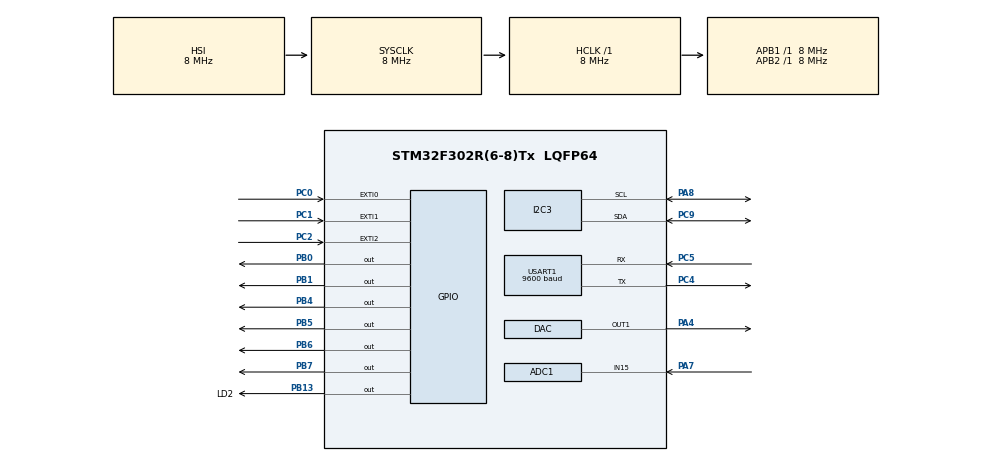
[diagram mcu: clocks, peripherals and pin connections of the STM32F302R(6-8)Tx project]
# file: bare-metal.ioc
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ADC1.Channel-0\#ChannelRegularConversion=ADC_CHANNEL_15
ADC1.Channel-1\#ChannelRegularConversion=ADC_CHANNEL_15
ADC1.Channel-2\#ChannelRegularConversion=ADC_CHANNEL_15
ADC1.ClockPrescaler=ADC_CLOCK_SYNC_PCLK_DIV4
ADC1.ContinuousConvMode=ENABLE
ADC1.EOCSelection=ADC_EOC_SEQ_CONV
ADC1.NbrOfConversion=3
ADC1.NbrOfConversionFlag=1
ADC1.Offset-0\#ChannelRegularConversion=0
ADC1.Offset-1\#ChannelRegularConversion=0
ADC1.Offset-2\#ChannelRegularConversion=0
ADC1.OffsetNumber-0\#ChannelRegularConversion=ADC_OFFSET_NONE
ADC1.OffsetNumber-1\#ChannelRegularConversion=ADC_OFFSET_NONE
ADC1.OffsetNumber-2\#ChannelRegularConversion=ADC_OFFSET_NONE
ADC1.Rank-0\#ChannelRegularConversion=1
ADC1.Rank-1\#ChannelRegularConversion=2
ADC1.Rank-2\#ChannelRegularConversion=3
ADC1.SamplingTime-0\#ChannelRegularConversion=ADC_SAMPLETIME_1CYCLE_5
ADC1.SamplingTime-1\#ChannelRegularConversion=ADC_SAMPLETIME_1CYCLE_5
ADC1.SamplingTime-2\#ChannelRegularConversion=ADC_SAMPLETIME_1CYCLE_5
ADC1.SamplingTimeOPAMP-0\#ChannelRegularConversion=ADC_SAMPLETIME_4CYCLES_5
ADC1.SamplingTimeOPAMP-1\#ChannelRegularConversion=ADC_SAMPLETIME_1CYCLE_5
ADC1.SamplingTimeOPAMP-2\#ChannelRegularConversion=ADC_SAMPLETIME_1CYCLE_5
ADC1.SubFamily=STM32F302x8
ADC1.master=1
DAC.DAC_Trigger=DAC_TRIGGER_T6_TRGO
Dma.DAC_CH1.0.Direction=DMA_MEMORY_TO_PERIPH
Dma.DAC_CH1.0.Instance=DMA1_Channel3
Dma.DAC_CH1.0.MemDataAlignment=DMA_MDATAALIGN_WORD
Dma.DAC_CH1.0.MemInc=DMA_MINC_ENABLE
Dma.DAC_CH1.0.Mode=DMA_CIRCULAR
Dma.DAC_CH1.0.PeriphDataAlignment=DMA_PDATAALIGN_WORD
Dma.DAC_CH1.0.PeriphInc=DMA_PINC_DISABLE
Dma.DAC_CH1.0.Priority=DMA_PRIORITY_HIGH
Dma.Request0=DAC_CH1
I2C3.NoStretchMode=I2C_NOSTRETCH_DISABLE
I2C3.Speed=32
I2C3.Timing=0x00101DD6
Mcu.Family=STM32F3
Mcu.Name=STM32F302R(6-8)Tx
Mcu.Package=LQFP64
NVIC.DMA1_Channel3_IRQn=true\:0\:0\:false\:false\:true\:false\:true\:true
NVIC.EXTI0_IRQn=true\:0\:0\:false\:false\:true\:true\:true\:true
NVIC.EXTI1_IRQn=true\:0\:0\:false\:false\:true\:true\:true\:true
NVIC.EXTI2_TSC_IRQn=true\:0\:0\:false\:false\:true\:true\:true\:true
NVIC.PriorityGroup=NVIC_PRIORITYGROUP_4
NVIC.TIM2_IRQn=true\:0\:0\:false\:false\:true\:true\:true\:true
NVIC.USART1_IRQn=true\:0\:0\:false\:false\:true\:true\:true\:true
PA13.Mode=Serial_Wire
PA13.Signal=SYS_JTMS-SWDIO
PA14.Mode=Serial_Wire
PA14.Signal=SYS_JTCK-SWCLK
PA4.Signal=COMP_DAC1_group
PA7.Mode=IN15-Single-Ended
PA7.Signal=ADC1_IN15
PA8.GPIO_Pu=GPIO_PULLUP
PA8.Mode=I2C
PA8.Signal=I2C3_SCL
PB0.GPIO_Speed=GPIO_SPEED_FREQ_HIGH
PB0.Signal=GPIO_Output
PB1.GPIO_Speed=GPIO_SPEED_FREQ_HIGH
PB1.Signal=GPIO_Output
PB13.GPIO_Label=LD2
PB13.GPIO_Speed=GPIO_SPEED_FREQ_HIGH
PB13.Signal=GPIO_Output
PB4.GPIO_Speed=GPIO_SPEED_FREQ_HIGH
PB4.Signal=GPIO_Output
PB5.GPIO_Speed=GPIO_SPEED_FREQ_HIGH
PB5.Signal=GPIO_Output
PB6.GPIO_FM6=SYSCFG_CFGR1_I2C_PB6_FMP
PB6.GPIO_Speed=GPIO_SPEED_FREQ_HIGH
PB6.Signal=GPIO_Output
PB7.GPIO_FM7=SYSCFG_CFGR1_I2C_PB7_FMP
PB7.GPIO_Speed=GPIO_SPEED_FREQ_HIGH
PB7.Signal=GPIO_Output
PC0.GPIO_ModeDefaultEXTI=GPIO_MODE_IT_RISING_FALLING
PC0.GPIO_PuPd=GPIO_PULLUP
PC0.Signal=GPXTI0
PC1.GPIO_ModeDefaultEXTI=GPIO_MODE_IT_RISING_FALLING
PC1.GPIO_PuPd=GPIO_PULLUP
PC1.Signal=GPXTI1
PC2.GPIO_ModeDefaultEXTI=GPIO_MODE_IT_RISING_FALLING
PC2.GPIO_PuPd=GPIO_PULLUP
PC2.Signal=GPXTI2
PC4.Mode=Asynchronous
PC4.Signal=USART1_TX
PC5.Mode=Asynchronous
PC5.Signal=USART1_RX
PC9.GPIO_Pu=GPIO_PULLUP
PC9.Mode=I2C
PC9.Signal=I2C3_SDA
ProjectManager.HeapSize=0x200
ProjectManager.StackSize=0x400
ProjectManager.TargetToolchain=STM32CubeIDE
RCC.AHBFreq_Value=8000000
RCC.APB1Freq_Value=8000000
RCC.APB2Freq_Value=8000000
RCC.CortexFreq_Value=8000000
RCC.HSE_VALUE=8000000
RCC.HSI_VALUE=8000000
RCC.LSE_VALUE=32768
RCC.SYSCLKFreq_VALUE=8000000
SH.COMP_DAC1_group.0=DAC_OUT1,DAC_OUT1
TIM2.AutoReloadPreload=TIM_AUTORELOAD_PRELOAD_ENABLE
TIM2.ClockDivision=TIM_CLOCKDIVISION_DIV4
TIM2.Period=32000
TIM2.Prescaler=1024
TIM6.AutoReloadPreload=TIM_AUTORELOAD_PRELOAD_DISABLE
TIM6.Period=624
TIM6.TIM_MasterOutputTrigger=TIM_TRGO_UPDATE
USART1.BaudRate=9600
USART1.VirtualMode-Asynchronous=VM_ASYNC
VP_TIM15_VS_ClockSourceINT.Mode=Internal
VP_TIM2_VS_ClockSourceINT.Mode=Internal
VP_TIM6_VS_ClockSourceINT.Mode=Enable_Timer
board=custom

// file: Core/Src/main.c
/* USER CODE BEGIN Header */
/**
 ******************************************************************************
 * @file           : main.c
 * @brief          : Main program body
 ******************************************************************************
 * @attention
 *
 * Copyright (c) 2023 STMicroelectronics.
 * All rights reserved.
 *
 * This software is licensed under terms that can be found in the LICENSE file
 * in the root directory of this software component.
 * If no LICENSE file comes with this software, it is provided AS-IS.
 *
 ******************************************************************************
 * The above is auto-generated by the STM32CubeIDE.
 *
 * The code in the bare-metal STM32 project is highly experimental and focuses
 * on how to use the MCU's resources for various kind of applications.
 *
 * For now, the UART, I2C, ADC, DAC, DMA and a set of GPIOs have been utilized.
 * (as of 21Feb24)
 *
 * - UART1 for command line interface for debugging and ...
 * - I2C for reading measurements from a CO2 sensor.
 * - ADC for measuring an AA battery voltage.
 * - DAC for generating a sinusoidal voltage on peripheral.
 * - DMA for updating the DAC directly from memory.
 * - GPIO B0, B1 + B4 - B7 for LCD 4-bit data bus control.
 * - TIM2, TIM6, TIM15, for PWM, DAC-DMA-Request and microsecond delay for data
 *   bus control
 *
 */
/* USER CODE END Header */
#include "main.h"

/* USER CODE BEGIN Includes */
#include <stdio.h>
#include <string.h>
#include "appver.h"
#include "cmd.h"
#include "scd30.h"
#include "lcd16x2.h"
#include "eightBitSinus.h"

/* USER CODE END Includes */

/* USER CODE BEGIN PD */
#define SENSIRION_ADDRESS 0x61 << 1
#define firmware 0xD100
#define continuous_measurement 0x0010
/* USER CODE END PD */

ADC_HandleTypeDef hadc1;

DAC_HandleTypeDef hdac;
DMA_HandleTypeDef hdma_dac_ch1;

I2C_HandleTypeDef hi2c3;

TIM_HandleTypeDef htim2;
TIM_HandleTypeDef htim6;
TIM_HandleTypeDef htim15;

UART_HandleTypeDef huart1;

void SystemClock_Config(void);
static void MX_GPIO_Init(void);
static void MX_DMA_Init(void);
static void MX_USART1_UART_Init(void);
static void MX_ADC1_Init(void);
static void MX_TIM2_Init(void);
static void MX_I2C3_Init(void);
static void MX_DAC_Init(void);
static void MX_TIM6_Init(void);
static void MX_TIM15_Init(void);
/* USER CODE BEGIN PFP */

int _write(int fd, char *ptr, int len) {
	//HAL_UART_Transmit(&huart1, (uint8_t *) ptr, len, HAL_MAX_DELAY);
	HAL_UART_Transmit(&huart1, (uint8_t*) ptr, len, 1000);
	return len;
}

/* USER CODE END PFP */

/* USER CODE BEGIN 0 */
void XferCpltCallback(DMA_HandleTypeDef *hdma);
extern int msValue;
extern int timRepeat;
extern int timRepeatCount;

extern char co2[20];
extern char temp[20];

uint8_t txBuffer[14] =
		{ 48, 49, 50, 51, 52, 53, 54, 55, 56, 57, 10, 13, 10, 13 };
uint8_t counter = 0;
uint8_t UART1_rxBuffer = 0;
uint8_t cmdComplete;
char termInputBuffer[80];
int bytesReceived = 0;
uint8_t led2 = OFF;
uint8_t timMode = ONE_SHOT;
uint8_t relHours = 0;
uint8_t relMinutes = 0;
uint8_t relSeconds = 0;
uint8_t relHundreds = 0;

void HAL_UART_RxCpltCallback(UART_HandleTypeDef *huart) {
	//uint8_t UARTnewLine = 10;
	if (UART1_rxBuffer == 13) {
		//HAL_UART_Transmit(&huart1, &UARTnewLine, 1, 100);
		if (bytesReceived > 0) {
			HAL_GPIO_WritePin(LD2_GPIO_Port, LD2_Pin, GPIO_PIN_SET);

			executeCmd(&termInputBuffer[0], bytesReceived);
			bytesReceived = 0;
			memset(termInputBuffer, 0, 80);
			HAL_GPIO_WritePin(LD2_GPIO_Port, LD2_Pin, GPIO_PIN_RESET);
		} else {
			promt();
		}
		HAL_UART_Receive_IT(&huart1, &UART1_rxBuffer, 1);
		return;
	}
	HAL_UART_Transmit(&huart1, &UART1_rxBuffer, 1, 100);
	termInputBuffer[bytesReceived] = UART1_rxBuffer;
	bytesReceived++;
	// re-trigger the interrupt...
	HAL_UART_Receive_IT(&huart1, &UART1_rxBuffer, 1);
}

void HAL_TIM_PeriodElapsedCallback(TIM_HandleTypeDef *htim) {
   if (timMode == ONE_SHOT) {
      HAL_GPIO_TogglePin(LD2_GPIO_Port, LD2_Pin);
      HAL_TIM_Base_Stop_IT(&htim2);
   }
   else {
      HAL_GPIO_TogglePin(LD2_GPIO_Port, LD2_Pin);
      if (timRepeatCount++ > timRepeat) {
         HAL_TIM_Base_Stop_IT(&htim2);
      }
   }
   //printf("\r\nHAL_TIM_PeriodElapsedCallback");
   //promt();
}
//HAL_GPIO_EXTI_IRQHandler
void HAL_GPIO_EXTI_Callback(uint16_t GPIO_Pin) {
   uint16_t hallState = GPIOC->IDR & 0x7;
   printf("hall state = 0x%02x", hallState);
}

void delay_us(volatile uint16_t au16_us)
{
   htim15.Instance->CNT = 0;
   while (htim15.Instance->CNT < au16_us);
}

void relClockUpdate() {
/***
   if (relHundreds <= 99) {
      relHundreds++;
   }
   else {
      relHundreds = 0;
***/
   if (relSeconds < 59) {
      relSeconds++;
   }
   else {
      relSeconds = 0;
      if (relMinutes < 59) {
         relMinutes++;
      }
      else {
         relMinutes = 0;
         if (relHours <= 23) {
            relHours++;
         }
         else {
            relHours = 0;
         }
      }
   }
   //}
   return;
}
/* USER CODE END 0 */

int main(void)
{
  /* USER CODE BEGIN 1 */
  uint32_t values[3];

  setvbuf(stdout, NULL, _IONBF, 0);
  //int i = 0;
  /* USER CODE END 1 */

  /* MCU Configuration--------------------------------------------------------*/

  /* Reset of all peripherals, Initializes the Flash interface and the Systick. */
  HAL_Init();

  /* USER CODE BEGIN Init */
	//uint8_t* msg = "hello world\n";
  /* USER CODE END Init */

  /* Configure the system clock */
  SystemClock_Config();

  /* Initialize all configured peripherals */
  MX_GPIO_Init();
  MX_DMA_Init();
  MX_USART1_UART_Init();
  MX_ADC1_Init();
  MX_TIM2_Init();
  MX_I2C3_Init();
  MX_DAC_Init();
  MX_TIM6_Init();
  MX_TIM15_Init();
  /* USER CODE BEGIN 2 */
  HAL_UART_Receive_IT(&huart1, &UART1_rxBuffer, 1);
  HAL_TIM_Base_Start(&htim15);

  //HAL_TIM_Base_Start_IT(&htim2);
  //HAL_TIM_Base_Start_IT(&htim6);
  //HAL_DMA_Start_IT(&hdma_dac_ch1, (uint32_t)sinData, (uint32_t)&DAC1->DHR8R1, 256);
  //htim6.Instance->ARR = 32000;
  //HAL_DAC_Start(&hdac, DAC_CHANNEL_1);

  HAL_DAC_Start_DMA(&hdac, DAC_CHANNEL_1, (uint32_t*)sinData, 256, DAC_ALIGN_8B_R);
  HAL_TIM_Base_Start(&htim6);

  uint8_t ledState = OFF;
  printf("\r\n\r\nBare-Metal SW on STM32-NUCLEO-F302R8 development board");
  printf("\r\nBuild No. %d", BUILD);
  // Check if a I2C device is connected.
  //ReadFirmwareVersion(); // NOT OBVIOUS THAT THIS IS A I2C SENSOR....

  lcdInit();
  promt();
  HAL_Delay(2000);
  //HAL_TIM_PWM_Start(&htim17, TIM_CHANNEL_1);

  /* USER CODE END 2 */

  /* Infinite loop */
  /* USER CODE BEGIN WHILE */

   SetMeasurementInterval(2);
   ContinuousMeasurement(0);
	while (1) {
    /* USER CODE END WHILE */

    /* USER CODE BEGIN 3 */
		if (led2 != ledState) {
			ledState = led2;
			if (led2 == ON) {
				HAL_GPIO_WritePin(LD2_GPIO_Port, LD2_Pin, GPIO_PIN_SET);
			} else {
				HAL_GPIO_WritePin(LD2_GPIO_Port, LD2_Pin, GPIO_PIN_RESET);
			}
		}

		if (led2 == BLINKING) {
		   if (msValue > 0) {
			  HAL_GPIO_TogglePin(LD2_GPIO_Port, LD2_Pin);
			  HAL_Delay(msValue);
		   } else {
			   HAL_GPIO_WritePin(LD2_GPIO_Port, LD2_Pin, GPIO_PIN_RESET);
			   ledState = OFF;
			}
		}
/****
    HAL_Delay(1000);
    lcdClock(1, relHours, relMinutes, relSeconds, relHundreds);
    relClockUpdate();
****/
      //HAL_GPIO_TogglePin(LD2_GPIO_Port, LD2_Pin);

		/*** TESTING THE PWM OPERATION OF TIM17
		// PWM range from 0% to 100%
      for(int i=0; i<=100; i++){
         TIM17->CCR1 = i;
         HAL_Delay(5);
      }

      // PWM range from 100% to 0%
      for(int i=100; i>=0; i--){
         TIM17->CCR1 = i;
         HAL_Delay(15);
      }
      ***/

		HAL_Delay(10000);
		CO2("READ", (int*)&values[0]);
      strings4lcd((uint8_t*)co2, strlen((char *)co2), (uint8_t*)temp, strlen((char *)temp));
	}
  /* USER CODE END 3 */
}

void SystemClock_Config(void)
{
  RCC_OscInitTypeDef RCC_OscInitStruct = {0};
  RCC_ClkInitTypeDef RCC_ClkInitStruct = {0};
  RCC_PeriphCLKInitTypeDef PeriphClkInit = {0};

  /** Initializes the RCC Oscillators according to the specified parameters
  * in the RCC_OscInitTypeDef structure.
  */
  RCC_OscInitStruct.OscillatorType = RCC_OSCILLATORTYPE_HSI;
  RCC_OscInitStruct.HSIState = RCC_HSI_ON;
  RCC_OscInitStruct.HSICalibrationValue = RCC_HSICALIBRATION_DEFAULT;
  RCC_OscInitStruct.PLL.PLLState = RCC_PLL_NONE;
  if (HAL_RCC_OscConfig(&RCC_OscInitStruct) != HAL_OK)
  {
    Error_Handler();
  }

  /** Initializes the CPU, AHB and APB buses clocks
  */
  RCC_ClkInitStruct.ClockType = RCC_CLOCKTYPE_HCLK|RCC_CLOCKTYPE_SYSCLK
                              |RCC_CLOCKTYPE_PCLK1|RCC_CLOCKTYPE_PCLK2;
  RCC_ClkInitStruct.SYSCLKSource = RCC_SYSCLKSOURCE_HSI;
  RCC_ClkInitStruct.AHBCLKDivider = RCC_SYSCLK_DIV1;
  RCC_ClkInitStruct.APB1CLKDivider = RCC_HCLK_DIV1;
  RCC_ClkInitStruct.APB2CLKDivider = RCC_HCLK_DIV1;

  if (HAL_RCC_ClockConfig(&RCC_ClkInitStruct, FLASH_LATENCY_0) != HAL_OK)
  {
    Error_Handler();
  }
  PeriphClkInit.PeriphClockSelection = RCC_PERIPHCLK_USART1|RCC_PERIPHCLK_I2C3
                              |RCC_PERIPHCLK_TIM15;
  PeriphClkInit.Usart1ClockSelection = RCC_USART1CLKSOURCE_PCLK1;
  PeriphClkInit.I2c3ClockSelection = RCC_I2C3CLKSOURCE_HSI;
  PeriphClkInit.Tim15ClockSelection = RCC_TIM15CLK_HCLK;
  if (HAL_RCCEx_PeriphCLKConfig(&PeriphClkInit) != HAL_OK)
  {
    Error_Handler();
  }
}

static void MX_ADC1_Init(void)
{

  ADC_ChannelConfTypeDef sConfig = {0};

  /** Common config
  */
  hadc1.Instance = ADC1;
  hadc1.Init.ClockPrescaler = ADC_CLOCK_SYNC_PCLK_DIV4;
  hadc1.Init.Resolution = ADC_RESOLUTION_12B;
  hadc1.Init.ScanConvMode = ADC_SCAN_ENABLE;
  hadc1.Init.ContinuousConvMode = ENABLE;
  hadc1.Init.DiscontinuousConvMode = DISABLE;
  hadc1.Init.ExternalTrigConvEdge = ADC_EXTERNALTRIGCONVEDGE_NONE;
  hadc1.Init.ExternalTrigConv = ADC_SOFTWARE_START;
  hadc1.Init.DataAlign = ADC_DATAALIGN_RIGHT;
  hadc1.Init.NbrOfConversion = 3;
  hadc1.Init.DMAContinuousRequests = DISABLE;
  hadc1.Init.EOCSelection = ADC_EOC_SEQ_CONV;
  hadc1.Init.LowPowerAutoWait = DISABLE;
  hadc1.Init.Overrun = ADC_OVR_DATA_OVERWRITTEN;
  if (HAL_ADC_Init(&hadc1) != HAL_OK)
  {
    Error_Handler();
  }

  /** Configure Regular Channel
  */
  sConfig.Channel = ADC_CHANNEL_15;
  sConfig.Rank = ADC_REGULAR_RANK_1;
  sConfig.SingleDiff = ADC_SINGLE_ENDED;
  sConfig.SamplingTime = ADC_SAMPLETIME_1CYCLE_5;
  sConfig.OffsetNumber = ADC_OFFSET_NONE;
  sConfig.Offset = 0;
  if (HAL_ADC_ConfigChannel(&hadc1, &sConfig) != HAL_OK)
  {
    Error_Handler();
  }

  /** Configure Regular Channel
  */
  sConfig.Rank = ADC_REGULAR_RANK_2;
  if (HAL_ADC_ConfigChannel(&hadc1, &sConfig) != HAL_OK)
  {
    Error_Handler();
  }

  /** Configure Regular Channel
  */
  sConfig.Rank = ADC_REGULAR_RANK_3;
  if (HAL_ADC_ConfigChannel(&hadc1, &sConfig) != HAL_OK)
  {
    Error_Handler();
  }

}

static void MX_DAC_Init(void)
{

  DAC_ChannelConfTypeDef sConfig = {0};

  /** DAC Initialization
  */
  hdac.Instance = DAC;
  if (HAL_DAC_Init(&hdac) != HAL_OK)
  {
    Error_Handler();
  }

  /** DAC channel OUT1 config
  */
  sConfig.DAC_Trigger = DAC_TRIGGER_T6_TRGO;
  sConfig.DAC_OutputBuffer = DAC_OUTPUTBUFFER_ENABLE;
  if (HAL_DAC_ConfigChannel(&hdac, &sConfig, DAC_CHANNEL_1) != HAL_OK)
  {
    Error_Handler();
  }

}

static void MX_I2C3_Init(void)
{

  hi2c3.Instance = I2C3;
  hi2c3.Init.Timing = 0x00101DD6;
  hi2c3.Init.OwnAddress1 = 0;
  hi2c3.Init.AddressingMode = I2C_ADDRESSINGMODE_7BIT;
  hi2c3.Init.DualAddressMode = I2C_DUALADDRESS_DISABLE;
  hi2c3.Init.OwnAddress2 = 0;
  hi2c3.Init.OwnAddress2Masks = I2C_OA2_NOMASK;
  hi2c3.Init.GeneralCallMode = I2C_GENERALCALL_DISABLE;
  hi2c3.Init.NoStretchMode = I2C_NOSTRETCH_DISABLE;
  if (HAL_I2C_Init(&hi2c3) != HAL_OK)
  {
    Error_Handler();
  }

  /** Configure Analogue filter
  */
  if (HAL_I2CEx_ConfigAnalogFilter(&hi2c3, I2C_ANALOGFILTER_ENABLE) != HAL_OK)
  {
    Error_Handler();
  }

  /** Configure Digital filter
  */
  if (HAL_I2CEx_ConfigDigitalFilter(&hi2c3, 0) != HAL_OK)
  {
    Error_Handler();
  }

}

static void MX_TIM2_Init(void)
{

  TIM_ClockConfigTypeDef sClockSourceConfig = {0};
  TIM_MasterConfigTypeDef sMasterConfig = {0};

  htim2.Instance = TIM2;
  htim2.Init.Prescaler = 1024;
  htim2.Init.CounterMode = TIM_COUNTERMODE_UP;
  htim2.Init.Period = 32000;
  htim2.Init.ClockDivision = TIM_CLOCKDIVISION_DIV4;
  htim2.Init.AutoReloadPreload = TIM_AUTORELOAD_PRELOAD_ENABLE;
  if (HAL_TIM_Base_Init(&htim2) != HAL_OK)
  {
    Error_Handler();
  }
  sClockSourceConfig.ClockSource = TIM_CLOCKSOURCE_INTERNAL;
  if (HAL_TIM_ConfigClockSource(&htim2, &sClockSourceConfig) != HAL_OK)
  {
    Error_Handler();
  }
  sMasterConfig.MasterOutputTrigger = TIM_TRGO_RESET;
  sMasterConfig.MasterSlaveMode = TIM_MASTERSLAVEMODE_DISABLE;
  if (HAL_TIMEx_MasterConfigSynchronization(&htim2, &sMasterConfig) != HAL_OK)
  {
    Error_Handler();
  }

}

static void MX_TIM6_Init(void)
{

  TIM_MasterConfigTypeDef sMasterConfig = {0};

  htim6.Instance = TIM6;
  htim6.Init.Prescaler = 0;
  htim6.Init.CounterMode = TIM_COUNTERMODE_UP;
  htim6.Init.Period = 624;
  htim6.Init.AutoReloadPreload = TIM_AUTORELOAD_PRELOAD_DISABLE;
  if (HAL_TIM_Base_Init(&htim6) != HAL_OK)
  {
    Error_Handler();
  }
  sMasterConfig.MasterOutputTrigger = TIM_TRGO_UPDATE;
  sMasterConfig.MasterSlaveMode = TIM_MASTERSLAVEMODE_DISABLE;
  if (HAL_TIMEx_MasterConfigSynchronization(&htim6, &sMasterConfig) != HAL_OK)
  {
    Error_Handler();
  }

}

static void MX_TIM15_Init(void)
{

  TIM_ClockConfigTypeDef sClockSourceConfig = {0};
  TIM_MasterConfigTypeDef sMasterConfig = {0};

  htim15.Instance = TIM15;
  htim15.Init.Prescaler = 0;
  htim15.Init.CounterMode = TIM_COUNTERMODE_UP;
  htim15.Init.Period = 65535;
  htim15.Init.ClockDivision = TIM_CLOCKDIVISION_DIV1;
  htim15.Init.RepetitionCounter = 0;
  htim15.Init.AutoReloadPreload = TIM_AUTORELOAD_PRELOAD_DISABLE;
  if (HAL_TIM_Base_Init(&htim15) != HAL_OK)
  {
    Error_Handler();
  }
  sClockSourceConfig.ClockSource = TIM_CLOCKSOURCE_INTERNAL;
  if (HAL_TIM_ConfigClockSource(&htim15, &sClockSourceConfig) != HAL_OK)
  {
    Error_Handler();
  }
  sMasterConfig.MasterOutputTrigger = TIM_TRGO_RESET;
  sMasterConfig.MasterSlaveMode = TIM_MASTERSLAVEMODE_DISABLE;
  if (HAL_TIMEx_MasterConfigSynchronization(&htim15, &sMasterConfig) != HAL_OK)
  {
    Error_Handler();
  }

}

static void MX_USART1_UART_Init(void)
{

  huart1.Instance = USART1;
  huart1.Init.BaudRate = 9600;
  huart1.Init.WordLength = UART_WORDLENGTH_8B;
  huart1.Init.StopBits = UART_STOPBITS_1;
  huart1.Init.Parity = UART_PARITY_NONE;
  huart1.Init.Mode = UART_MODE_TX_RX;
  huart1.Init.HwFlowCtl = UART_HWCONTROL_NONE;
  huart1.Init.OverSampling = UART_OVERSAMPLING_16;
  huart1.Init.OneBitSampling = UART_ONE_BIT_SAMPLE_DISABLE;
  huart1.AdvancedInit.AdvFeatureInit = UART_ADVFEATURE_NO_INIT;
  if (HAL_UART_Init(&huart1) != HAL_OK)
  {
    Error_Handler();
  }

}

static void MX_DMA_Init(void)
{

  /* DMA controller clock enable */
  __HAL_RCC_DMA1_CLK_ENABLE();

  /* DMA interrupt init */
  /* DMA1_Channel3_IRQn interrupt configuration */
  HAL_NVIC_SetPriority(DMA1_Channel3_IRQn, 0, 0);
  HAL_NVIC_EnableIRQ(DMA1_Channel3_IRQn);

}

static void MX_GPIO_Init(void)
{
  GPIO_InitTypeDef GPIO_InitStruct = {0};

  /* GPIO Ports Clock Enable */
  __HAL_RCC_GPIOC_CLK_ENABLE();
  __HAL_RCC_GPIOA_CLK_ENABLE();
  __HAL_RCC_GPIOB_CLK_ENABLE();

  /*Configure GPIO pin Output Level */
  HAL_GPIO_WritePin(GPIOB, GPIO_PIN_0|GPIO_PIN_1|LD2_Pin|GPIO_PIN_4
                          |GPIO_PIN_5|GPIO_PIN_6|GPIO_PIN_7, GPIO_PIN_RESET);

  /*Configure GPIO pins : PC0 PC1 PC2 */
  GPIO_InitStruct.Pin = GPIO_PIN_0|GPIO_PIN_1|GPIO_PIN_2;
  GPIO_InitStruct.Mode = GPIO_MODE_IT_RISING_FALLING;
  GPIO_InitStruct.Pull = GPIO_PULLUP;
  HAL_GPIO_Init(GPIOC, &GPIO_InitStruct);

  /*Configure GPIO pins : PB0 PB1 LD2_Pin PB4
                           PB5 PB6 PB7 */
  GPIO_InitStruct.Pin = GPIO_PIN_0|GPIO_PIN_1|LD2_Pin|GPIO_PIN_4
                          |GPIO_PIN_5|GPIO_PIN_6|GPIO_PIN_7;
  GPIO_InitStruct.Mode = GPIO_MODE_OUTPUT_PP;
  GPIO_InitStruct.Pull = GPIO_NOPULL;
  GPIO_InitStruct.Speed = GPIO_SPEED_FREQ_HIGH;
  HAL_GPIO_Init(GPIOB, &GPIO_InitStruct);

  /**/
  HAL_I2CEx_EnableFastModePlus(SYSCFG_CFGR1_I2C_PB6_FMP);

  /**/
  HAL_I2CEx_EnableFastModePlus(SYSCFG_CFGR1_I2C_PB7_FMP);

  /* EXTI interrupt init*/
  HAL_NVIC_SetPriority(EXTI0_IRQn, 0, 0);
  HAL_NVIC_EnableIRQ(EXTI0_IRQn);

  HAL_NVIC_SetPriority(EXTI1_IRQn, 0, 0);
  HAL_NVIC_EnableIRQ(EXTI1_IRQn);

  HAL_NVIC_SetPriority(EXTI2_TSC_IRQn, 0, 0);
  HAL_NVIC_EnableIRQ(EXTI2_TSC_IRQn);

}

/* USER CODE BEGIN 4 */
void XferCpltCallback(DMA_HandleTypeDef *hdma)
{
  __NOP(); //Line reached only if transfer was successful. Toggle a breakpoint here
}
/* USER CODE END 4 */

void Error_Handler(void)
{
	__disable_irq();
	while (1) {
	}
}
